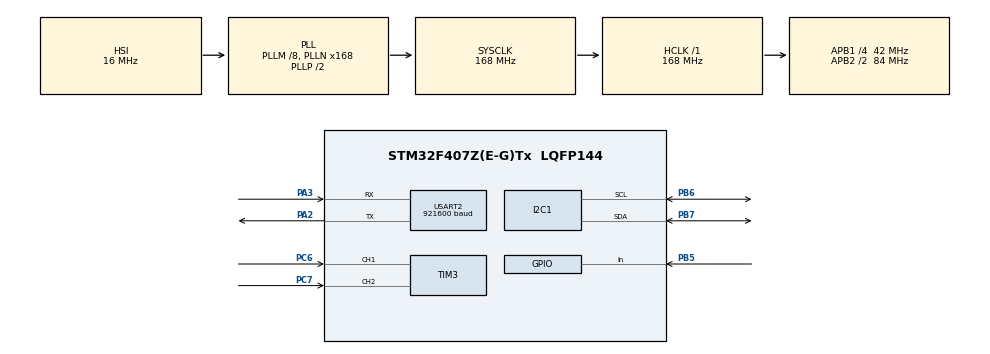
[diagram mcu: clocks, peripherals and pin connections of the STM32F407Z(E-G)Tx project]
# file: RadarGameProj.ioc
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Dma.Request0=USART2_RX
Dma.USART2_RX.0.Direction=DMA_PERIPH_TO_MEMORY
Dma.USART2_RX.0.FIFOMode=DMA_FIFOMODE_DISABLE
Dma.USART2_RX.0.Instance=DMA1_Stream5
Dma.USART2_RX.0.MemDataAlignment=DMA_MDATAALIGN_BYTE
Dma.USART2_RX.0.MemInc=DMA_MINC_ENABLE
Dma.USART2_RX.0.Mode=DMA_NORMAL
Dma.USART2_RX.0.PeriphDataAlignment=DMA_PDATAALIGN_BYTE
Dma.USART2_RX.0.PeriphInc=DMA_PINC_DISABLE
Dma.USART2_RX.0.Priority=DMA_PRIORITY_LOW
FREERTOS.INCLUDE_eTaskGetState=1
FREERTOS.Tasks01=defaultTask,0,128,StartDefaultTask,Default,NULL,Dynamic,NULL,NULL
Mcu.Family=STM32F4
Mcu.Name=STM32F407Z(E-G)Tx
Mcu.Package=LQFP144
NVIC.DMA1_Stream5_IRQn=true\:5\:0\:false\:false\:true\:true\:false\:true\:true
NVIC.PriorityGroup=NVIC_PRIORITYGROUP_4
NVIC.TIM6_DAC_IRQn=true\:15\:0\:false\:false\:true\:false\:false\:true\:true
NVIC.TimeBase=TIM6_DAC_IRQn
NVIC.TimeBaseIP=TIM6
NVIC.USART2_IRQn=true\:5\:0\:false\:false\:true\:true\:true\:true\:true
PA13.Mode=JTAG_5_pins
PA13.Signal=SYS_JTMS-SWDIO
PA14.Mode=JTAG_5_pins
PA14.Signal=SYS_JTCK-SWCLK
PA15.Mode=JTAG_5_pins
PA15.Signal=SYS_JTDI
PA2.Mode=Asynchronous
PA2.Signal=USART2_TX
PA3.GPIO_PuPd=GPIO_PULLUP
PA3.Mode=Asynchronous
PA3.Signal=USART2_RX
PB3.Mode=JTAG_5_pins
PB3.Signal=SYS_JTDO-SWO
PB4.Mode=JTAG_5_pins
PB4.Signal=SYS_JTRST
PB5.GPIO_PuPd=GPIO_PULLUP
PB5.Signal=GPIO_Input
PB6.GPIO_Pu=GPIO_PULLUP
PB6.GPIO_Speed=GPIO_SPEED_FREQ_HIGH
PB6.Mode=I2C
PB6.Signal=I2C1_SCL
PB7.GPIO_Pu=GPIO_PULLUP
PB7.GPIO_Speed=GPIO_SPEED_FREQ_HIGH
PB7.Mode=I2C
PB7.Signal=I2C1_SDA
PC6.Signal=S_TIM3_CH1
PC7.Signal=S_TIM3_CH2
PH0-OSC_IN.Mode=HSE-External-Oscillator
PH0-OSC_IN.Signal=RCC_OSC_IN
PH1-OSC_OUT.Mode=HSE-External-Oscillator
PH1-OSC_OUT.Signal=RCC_OSC_OUT
ProjectManager.HeapSize=0x200
ProjectManager.StackSize=0x400
ProjectManager.TargetToolchain=MDK-ARM V5.32
RCC.48MHZClocksFreq_Value=84000000
RCC.AHBFreq_Value=168000000
RCC.APB1CLKDivider=RCC_HCLK_DIV4
RCC.APB1Freq_Value=42000000
RCC.APB1TimFreq_Value=84000000
RCC.APB2CLKDivider=RCC_HCLK_DIV2
RCC.APB2Freq_Value=84000000
RCC.APB2TimFreq_Value=168000000
RCC.CortexFreq_Value=168000000
RCC.HCLKFreq_Value=168000000
RCC.HSE_VALUE=25000000
RCC.HSI_VALUE=16000000
RCC.LSE_VALUE=32768
RCC.PLLM=8
RCC.PLLN=168
RCC.SYSCLKFreq_VALUE=168000000
RCC.SYSCLKSource=RCC_SYSCLKSOURCE_PLLCLK
RCC.VCOOutputFreq_Value=336000000
SH.S_TIM3_CH1.0=TIM3_CH1,Encoder_Interface
SH.S_TIM3_CH2.0=TIM3_CH2,Encoder_Interface
TIM3.EncoderMode=TIM_ENCODERMODE_TI12
TIM3.IC1Filter=4
USART2.BaudRate=921600
USART2.VirtualMode=VM_ASYNC
VP_FREERTOS_VS_CMSIS_V1.Mode=CMSIS_V1
VP_SYS_VS_tim6.Mode=TIM6
board=custom

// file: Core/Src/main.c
/* USER CODE BEGIN Header */
/**
  ******************************************************************************
  * @file           : main.c
  * @brief          : Main program body
  ******************************************************************************
  * @attention
  *
  * Copyright (c) 2026 STMicroelectronics.
  * All rights reserved.
  *
  * This software is licensed under terms that can be found in the LICENSE file
  * in the root directory of this software component.
  * If no LICENSE file comes with this software, it is provided AS-IS.
  *
  ******************************************************************************
  */
/* USER CODE END Header */
#include "main.h"
#include "cmsis_os.h"

/* USER CODE BEGIN Includes */
#include "driver_oled.h"
#define COMPILE_GAME1 1
#include "game1.h"
#include "page_manager.h"
#include "driver_rotary_encoder.h"
#include "driver_mpu6050.h"
#include "driver_radar.h"
#include "radar_manager.h"
#include "event_groups.h"
/* USER CODE END Includes */

I2C_HandleTypeDef hi2c1;

TIM_HandleTypeDef htim3;

UART_HandleTypeDef huart2;
DMA_HandleTypeDef hdma_usart2_rx;

osThreadId defaultTaskHandle;
/* USER CODE BEGIN PV */
TaskHandle_t game1TaskHandle;
TaskHandle_t RadarTaskHandle;
SemaphoreHandle_t g_oledMutex = NULL;
EventGroupHandle_t g_sysEvent;

/* USER CODE END PV */

void SystemClock_Config(void);
static void MX_GPIO_Init(void);
static void MX_DMA_Init(void);
static void MX_I2C1_Init(void);
static void MX_TIM3_Init(void);
static void MX_USART2_UART_Init(void);
void StartDefaultTask(void const * argument);

int main(void)
{

  /* MCU Configuration--------------------------------------------------------*/

  /* Reset of all peripherals, Initializes the Flash interface and the Systick. */
  HAL_Init();

  /* Configure the system clock */
  SystemClock_Config();

  /* Initialize all configured peripherals */
  MX_GPIO_Init();
  MX_DMA_Init();
  MX_I2C1_Init();
  MX_TIM3_Init();
  MX_USART2_UART_Init();
  /* USER CODE BEGIN 2 */
  MPU6050_Init();
  RotaryEncoder_Init();
  Radar_Init();

  /* USER CODE END 2 */

  /* USER CODE BEGIN RTOS_MUTEX */
  /* add mutexes, ... */
  	g_oledMutex = xSemaphoreCreateMutex();
	configASSERT(g_oledMutex != NULL);   // 顺手加断言，建失败(堆不够)能第一时间发现
  /* USER CODE END RTOS_MUTEX */

  /* USER CODE BEGIN RTOS_SEMAPHORES */
  /* add semaphores, ... */
  	g_sysEvent = xEventGroupCreate();
	configASSERT(g_sysEvent != NULL);
  /* USER CODE END RTOS_SEMAPHORES */

  /* Create the thread(s) */
  /* definition and creation of defaultTask */
  osThreadDef(defaultTask, StartDefaultTask, osPriorityNormal, 0, 512);
  defaultTaskHandle = osThreadCreate(osThread(defaultTask), NULL);

  /* USER CODE BEGIN RTOS_THREADS */
  /* add threads, ... */
  xTaskCreate(game1_task, "game1Task", 256, NULL, osPriorityNormal + 1, &game1TaskHandle);//游戏机任务启动，先挂起
  vTaskSuspend((TaskHandle_t)game1TaskHandle);

  PageManager_Init(); //切换页面任务启动函数

  xTaskCreate(Radar_Task, "Radar_Task", 256, NULL, osPriorityNormal + 1, &RadarTaskHandle);
  /* USER CODE END RTOS_THREADS */

  /* Start scheduler */
  osKernelStart();

  /* We should never get here as control is now taken by the scheduler */

  /* Infinite loop */
  while (1)
  {

  }
}

void SystemClock_Config(void)
{
  RCC_OscInitTypeDef RCC_OscInitStruct = {0};
  RCC_ClkInitTypeDef RCC_ClkInitStruct = {0};

  /** Configure the main internal regulator output voltage
  */
  __HAL_RCC_PWR_CLK_ENABLE();
  __HAL_PWR_VOLTAGESCALING_CONFIG(PWR_REGULATOR_VOLTAGE_SCALE1);

  /** Initializes the RCC Oscillators according to the specified parameters
  * in the RCC_OscInitTypeDef structure.
  */
  RCC_OscInitStruct.OscillatorType = RCC_OSCILLATORTYPE_HSI;
  RCC_OscInitStruct.HSIState = RCC_HSI_ON;
  RCC_OscInitStruct.HSICalibrationValue = RCC_HSICALIBRATION_DEFAULT;
  RCC_OscInitStruct.PLL.PLLState = RCC_PLL_ON;
  RCC_OscInitStruct.PLL.PLLSource = RCC_PLLSOURCE_HSI;
  RCC_OscInitStruct.PLL.PLLM = 8;
  RCC_OscInitStruct.PLL.PLLN = 168;
  RCC_OscInitStruct.PLL.PLLP = RCC_PLLP_DIV2;
  RCC_OscInitStruct.PLL.PLLQ = 4;
  if (HAL_RCC_OscConfig(&RCC_OscInitStruct) != HAL_OK)
  {
    Error_Handler();
  }

  /** Initializes the CPU, AHB and APB buses clocks
  */
  RCC_ClkInitStruct.ClockType = RCC_CLOCKTYPE_HCLK|RCC_CLOCKTYPE_SYSCLK
                              |RCC_CLOCKTYPE_PCLK1|RCC_CLOCKTYPE_PCLK2;
  RCC_ClkInitStruct.SYSCLKSource = RCC_SYSCLKSOURCE_PLLCLK;
  RCC_ClkInitStruct.AHBCLKDivider = RCC_SYSCLK_DIV1;
  RCC_ClkInitStruct.APB1CLKDivider = RCC_HCLK_DIV4;
  RCC_ClkInitStruct.APB2CLKDivider = RCC_HCLK_DIV2;

  if (HAL_RCC_ClockConfig(&RCC_ClkInitStruct, FLASH_LATENCY_5) != HAL_OK)
  {
    Error_Handler();
  }
}

static void MX_I2C1_Init(void)
{

  hi2c1.Instance = I2C1;
  hi2c1.Init.ClockSpeed = 100000;
  hi2c1.Init.DutyCycle = I2C_DUTYCYCLE_2;
  hi2c1.Init.OwnAddress1 = 0;
  hi2c1.Init.AddressingMode = I2C_ADDRESSINGMODE_7BIT;
  hi2c1.Init.DualAddressMode = I2C_DUALADDRESS_DISABLE;
  hi2c1.Init.OwnAddress2 = 0;
  hi2c1.Init.GeneralCallMode = I2C_GENERALCALL_DISABLE;
  hi2c1.Init.NoStretchMode = I2C_NOSTRETCH_DISABLE;
  if (HAL_I2C_Init(&hi2c1) != HAL_OK)
  {
    Error_Handler();
  }

}

static void MX_TIM3_Init(void)
{

  TIM_Encoder_InitTypeDef sConfig = {0};
  TIM_MasterConfigTypeDef sMasterConfig = {0};

  htim3.Instance = TIM3;
  htim3.Init.Prescaler = 0;
  htim3.Init.CounterMode = TIM_COUNTERMODE_UP;
  htim3.Init.Period = 65535;
  htim3.Init.ClockDivision = TIM_CLOCKDIVISION_DIV1;
  htim3.Init.AutoReloadPreload = TIM_AUTORELOAD_PRELOAD_DISABLE;
  sConfig.EncoderMode = TIM_ENCODERMODE_TI12;
  sConfig.IC1Polarity = TIM_ICPOLARITY_RISING;
  sConfig.IC1Selection = TIM_ICSELECTION_DIRECTTI;
  sConfig.IC1Prescaler = TIM_ICPSC_DIV1;
  sConfig.IC1Filter = 4;
  sConfig.IC2Polarity = TIM_ICPOLARITY_RISING;
  sConfig.IC2Selection = TIM_ICSELECTION_DIRECTTI;
  sConfig.IC2Prescaler = TIM_ICPSC_DIV1;
  sConfig.IC2Filter = 0;
  if (HAL_TIM_Encoder_Init(&htim3, &sConfig) != HAL_OK)
  {
    Error_Handler();
  }
  sMasterConfig.MasterOutputTrigger = TIM_TRGO_RESET;
  sMasterConfig.MasterSlaveMode = TIM_MASTERSLAVEMODE_DISABLE;
  if (HAL_TIMEx_MasterConfigSynchronization(&htim3, &sMasterConfig) != HAL_OK)
  {
    Error_Handler();
  }

}

static void MX_USART2_UART_Init(void)
{

  huart2.Instance = USART2;
  huart2.Init.BaudRate = 115200;
  huart2.Init.WordLength = UART_WORDLENGTH_8B;
  huart2.Init.StopBits = UART_STOPBITS_1;
  huart2.Init.Parity = UART_PARITY_NONE;
  huart2.Init.Mode = UART_MODE_TX_RX;
  huart2.Init.HwFlowCtl = UART_HWCONTROL_NONE;
  huart2.Init.OverSampling = UART_OVERSAMPLING_16;
  if (HAL_UART_Init(&huart2) != HAL_OK)
  {
    Error_Handler();
  }

}

static void MX_DMA_Init(void)
{

  /* DMA controller clock enable */
  __HAL_RCC_DMA1_CLK_ENABLE();

  /* DMA interrupt init */
  /* DMA1_Stream5_IRQn interrupt configuration */
  HAL_NVIC_SetPriority(DMA1_Stream5_IRQn, 5, 0);
  HAL_NVIC_EnableIRQ(DMA1_Stream5_IRQn);

}

static void MX_GPIO_Init(void)
{
  GPIO_InitTypeDef GPIO_InitStruct = {0};

  /* GPIO Ports Clock Enable */
  __HAL_RCC_GPIOH_CLK_ENABLE();
  __HAL_RCC_GPIOA_CLK_ENABLE();
  __HAL_RCC_GPIOC_CLK_ENABLE();
  __HAL_RCC_GPIOB_CLK_ENABLE();

  /*Configure GPIO pin : PB5 */
  GPIO_InitStruct.Pin = GPIO_PIN_5;
  GPIO_InitStruct.Mode = GPIO_MODE_INPUT;
  GPIO_InitStruct.Pull = GPIO_PULLUP;
  HAL_GPIO_Init(GPIOB, &GPIO_InitStruct);

}

void StartDefaultTask(void const * argument)
{
  /* USER CODE BEGIN 5 */
	OLED_Init();

  /* Infinite loop */
  for(;;)
  {
	xSemaphoreTake(g_oledMutex, portMAX_DELAY);
	OLED_Clear();
	OLED_PutChar(0, 0, 'A');
	OLED_PutChar(1, 0, 'Y');
	OLED_PrintString(0, 2, "Hello World!");

	  uint32_t ID = MPU6050_GetID();
	  OLED_PrintString(0, 4, "ID:");
	  OLED_PrintHex(3, 4, ID, 1);
	xSemaphoreGive(g_oledMutex);

	while (!switchToGame)
	{
		osDelay(100);
	}
	vTaskSuspend(NULL); //在任务内部进行挂起
  }
  /* USER CODE END 5 */
}

void HAL_TIM_PeriodElapsedCallback(TIM_HandleTypeDef *htim)
{
  if (htim->Instance == TIM6)
  {
    HAL_IncTick();
  }
}

void Error_Handler(void)
{
  __disable_irq();
  while (1)
  {
  }
}

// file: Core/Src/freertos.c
/* USER CODE BEGIN Header */
/**
  ******************************************************************************
  * File Name          : freertos.c
  * Description        : Code for freertos applications
  ******************************************************************************
  * @attention
  *
  * Copyright (c) 2026 STMicroelectronics.
  * All rights reserved.
  *
  * This software is licensed under terms that can be found in the LICENSE file
  * in the root directory of this software component.
  * If no LICENSE file comes with this software, it is provided AS-IS.
  *
  ******************************************************************************
  */
/* USER CODE END Header */

#include "FreeRTOS.h"
#include "task.h"
#include "main.h"

/* USER CODE BEGIN Includes */
#include "semphr.h"

/* USER CODE END Includes */

/* USER CODE BEGIN Variables */

extern SemaphoreHandle_t g_oledMutex;

/* USER CODE END Variables */

/* USER CODE BEGIN FunctionPrototypes */
void WaitForI2C(void)
{
	/*�ȴ�һ��������*/
	xSemaphoreTake(g_oledMutex, portMAX_DELAY);
}

void ReleaseI2C(void)
{
	/*�ͷŻ�����*/
	xSemaphoreGive(g_oledMutex);
}

/* USER CODE END FunctionPrototypes */

/* GetIdleTaskMemory prototype (linked to static allocation support) */
void vApplicationGetIdleTaskMemory( StaticTask_t **ppxIdleTaskTCBBuffer, StackType_t **ppxIdleTaskStackBuffer, uint32_t *pulIdleTaskStackSize );

/* USER CODE BEGIN GET_IDLE_TASK_MEMORY */
static StaticTask_t xIdleTaskTCBBuffer;
static StackType_t xIdleStack[configMINIMAL_STACK_SIZE];

void vApplicationGetIdleTaskMemory( StaticTask_t **ppxIdleTaskTCBBuffer, StackType_t **ppxIdleTaskStackBuffer, uint32_t *pulIdleTaskStackSize )
{
  *ppxIdleTaskTCBBuffer = &xIdleTaskTCBBuffer;
  *ppxIdleTaskStackBuffer = &xIdleStack[0];
  *pulIdleTaskStackSize = configMINIMAL_STACK_SIZE;
  /* place for user code */
}
/* USER CODE END GET_IDLE_TASK_MEMORY */

/* USER CODE BEGIN Application */
volatile char  *g_ovfTaskName;      /* 溢出的任务名 */
volatile uint32_t g_mallocFailCount;

void vApplicationStackOverflowHook(TaskHandle_t xTask, char *pcTaskName)
{
	(void)xTask;
	g_ovfTaskName = pcTaskName;       /* ← 直接告诉你是谁溢出了 */
    __BKPT(0);
    taskDISABLE_INTERRUPTS();
    for(;;);
}

void vApplicationMallocFailedHook(void)
{
	g_mallocFailCount++;              /* ← 堆不够时不再静默 */
    __BKPT(0);
    taskDISABLE_INTERRUPTS();
    for(;;);
}

/* USER CODE END Application */
